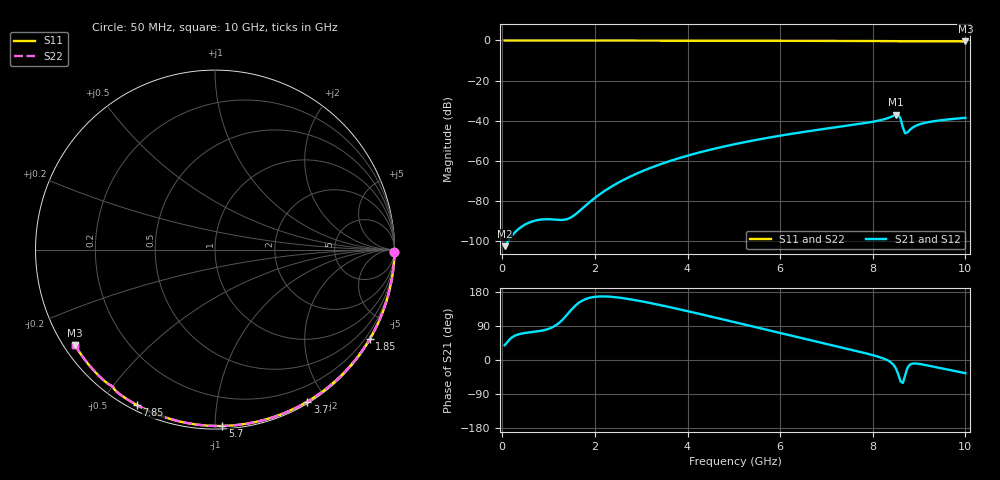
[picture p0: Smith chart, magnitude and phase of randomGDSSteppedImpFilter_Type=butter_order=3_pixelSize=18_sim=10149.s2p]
! freq	dB(S11)	phase(S11)	dB(S12)	phase(S12)
!  dB(S21)	phase(S21)	dB(S22)	phase(S22)
!S-par simulation data
#  GHz  S  DB  R 50
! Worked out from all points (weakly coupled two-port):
!   200 points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, 50 MHz to 10 GHz, reference 50 ohm
!   highest |S21| = -36.94 dB at 8.5 GHz (marker M1); lowest = -102.4 dB at 50 MHz (marker M2)
!   lowest |S11| = -0.5 dB at 10 GHz (marker M3), VSWR 34.82, Z = 1.57 - j15.4 ohm
!   |S11| at or under -10 dB: nowhere
!   |S22| runs from -0.5 to 0.0 dB; largest |S21 - S12| = 0
!   S11 on the Smith chart (normalised r, x): 50 MHz: open; 1.85 GHz: 0.03, -3.72; 3.7 GHz: 0.02, -1.78; 5.7 GHz: 0.02, -1.04; 7.85 GHz: 0.02, -0.62; 10 GHz: 0.03, -0.31
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0.05  -0.00 -0.8  -102.43 39.1  -102.43 39.1  -0.00 -0.8
0.9  -0.02 -14.8  -89.03 78.6  -89.03 78.6  -0.02 -14.8
1.75  -0.04 -28.5  -83.19 158.1  -83.19 158.1  -0.04 -28.5
1.85  -0.04 -30.1  -81.19 162.9  -81.19 162.9  -0.04 -30.1
1.9  -0.04 -30.9  -80.23 164.6  -80.23 164.6  -0.04 -30.9
2.3  -0.05 -37.2  -73.58 167.3  -73.58 167.3  -0.05 -37.2
2.65  -0.05 -42.7  -69.03 162.4  -69.03 162.4  -0.05 -42.7
3.4  -0.07 -54.2  -61.75 145.2  -61.75 145.2  -0.07 -54.3
3.7  -0.08 -58.8  -59.43 137.2  -59.43 137.2  -0.08 -58.8
5.05  -0.12 -78.5  -51.49 98.9  -51.49 98.9  -0.12 -78.5
5.7  -0.15 -87.6  -48.61 80.1  -48.61 80.1  -0.15 -87.6
6.7  -0.19 -101.3  -44.88 51.3  -44.88 51.3  -0.20 -101.3
7.85  -0.27 -116.6  -41.05 17.6  -41.05 17.6  -0.27 -116.7
8.35  -0.31 -123.4  -38.46 -2.9  -38.46 -2.9  -0.31 -123.5
8.5  -0.36 -125.6  -36.94 -22.5  -36.94 -22.5  -0.36 -125.7
8.55  -0.39 -126.2  -36.97 -37.7  -36.97 -37.7  -0.40 -126.3
8.6  -0.42 -126.7  -38.95 -56.4  -38.95 -56.4  -0.43 -126.7
8.65  -0.42 -127.1  -43.29 -60.5  -43.29 -60.5  -0.42 -127.1
8.7  -0.40 -127.7  -46.23 -39.8  -46.23 -39.8  -0.40 -127.7
8.9  -0.39 -130.4  -42.83 -9.2  -42.83 -9.2  -0.39 -130.4
9.1  -0.40 -133.1  -41.16 -12.4  -41.16 -12.4  -0.40 -133.2
10  -0.50 -145.7  -38.51 -34.8  -38.51 -34.8  -0.50 -145.8
